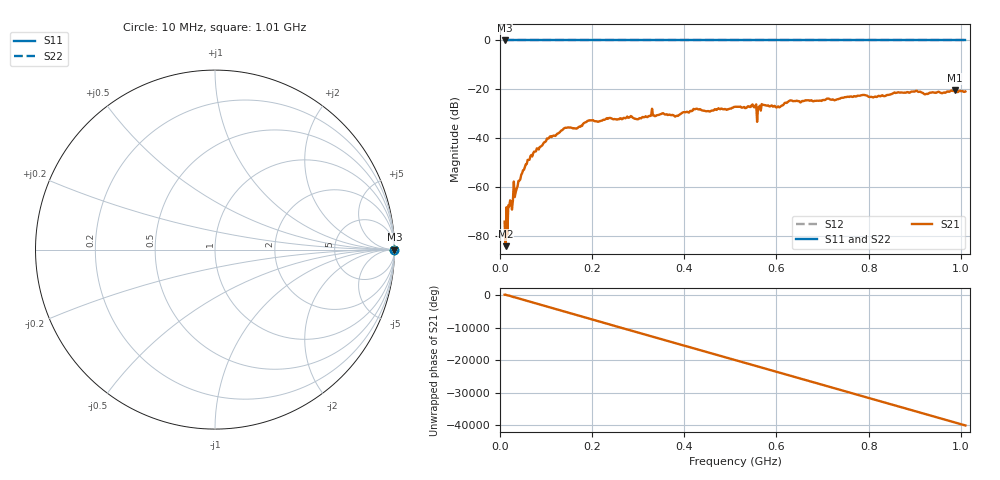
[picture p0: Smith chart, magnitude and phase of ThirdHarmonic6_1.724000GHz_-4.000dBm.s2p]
! 8/16/2025 8:45:13 PM
! C:\ANRITSUVNA\TEMP\TEMP.S2P
! CHANNEL.1
! TR.MEASUREMENT
! RAW.DATA
! RF.CORRECTION.OFF
! AVERAGING.OFF
! IF.BANDWIDTH: 5KHZ
! SWEEPTYPE:  FREQ.SWEEP(Linear)
! Reference Plane Port Info
! PORT:  PORT1  PORT2
! DISTANCE:  0  m  0  m
! TIME:  0  s  0  s
! PHASE.OFFSET:  0  deg.  0  deg.
! LOSS:  0  dB  0  dB
! REF.LOSS:  0  dB  0  dB
! REF.FREQ:  0  Hz  0  Hz
! Power Info
! POWER:  -20  dBm  -20  dBm
! EFF.POWER:  -20  dBm  -20  dBm
! SOURCE.ATTEN:  0  dB  0  dB
! TEST.ATTEN:  0  dB  0  dB
# GHZ S RI R 50.0
! FREQ.GHZ  S11RE  S11IM  S21RE  S21IM  S12RE  S12IM  S22RE  S22IM
!; PortSelection: Port_12
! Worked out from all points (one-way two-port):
!   501 points, 10 MHz to 1.01 GHz, reference 50 ohm
!   highest |S21| = -20.37 dB at 988 MHz (marker M1); lowest = -84.0 dB at 12 MHz (marker M2)
!   lowest |S11| = 0.0 dB at 10 MHz (marker M3)
!   |S11| at or under -10 dB: nowhere
!   |S22| runs from 0.0 to 0.0 dB; largest |S21 - S12| = 1.1
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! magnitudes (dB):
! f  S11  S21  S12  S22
! 10 MHz  0.0  -74.0  0.0  0.0
! 12 MHz  0.0  -84.0  0.0  0.0
! 26 MHz  0.0  -69.0  0.0  0.0
! 52 MHz  0.0  -52.8  0.0  0.0
! 70 MHz  0.0  -47.4  0.0  0.0
! 106 MHz  0.0  -39.9  0.0  0.0
! 142 MHz  0.0  -35.7  0.0  0.0
! 178 MHz  0.0  -34.9  0.0  0.0
! 194 MHz  0.0  -32.5  0.0  0.0
! 344 MHz  0.0  -30.4  0.0  0.0
! 382 MHz  0.0  -30.8  0.0  0.0
! 424 MHz  0.0  -28.0  0.0  0.0
! 510 MHz  0.0  -27.1  0.0  0.0
! 552 MHz  0.0  -27.3  0.0  0.0
! 562 MHz  0.0  -27.2  0.0  0.0
! 572 MHz  0.0  -26.3  0.0  0.0
! 604 MHz  0.0  -27.0  0.0  0.0
! 630 MHz  0.0  -24.5  0.0  0.0
! 678 MHz  0.0  -24.7  0.0  0.0
! 844 MHz  0.0  -22.2  0.0  0.0
! 988 MHz  0.0  -20.4  0.0  0.0
! 1.01 GHz  0.0  -20.8  0.0  0.0
